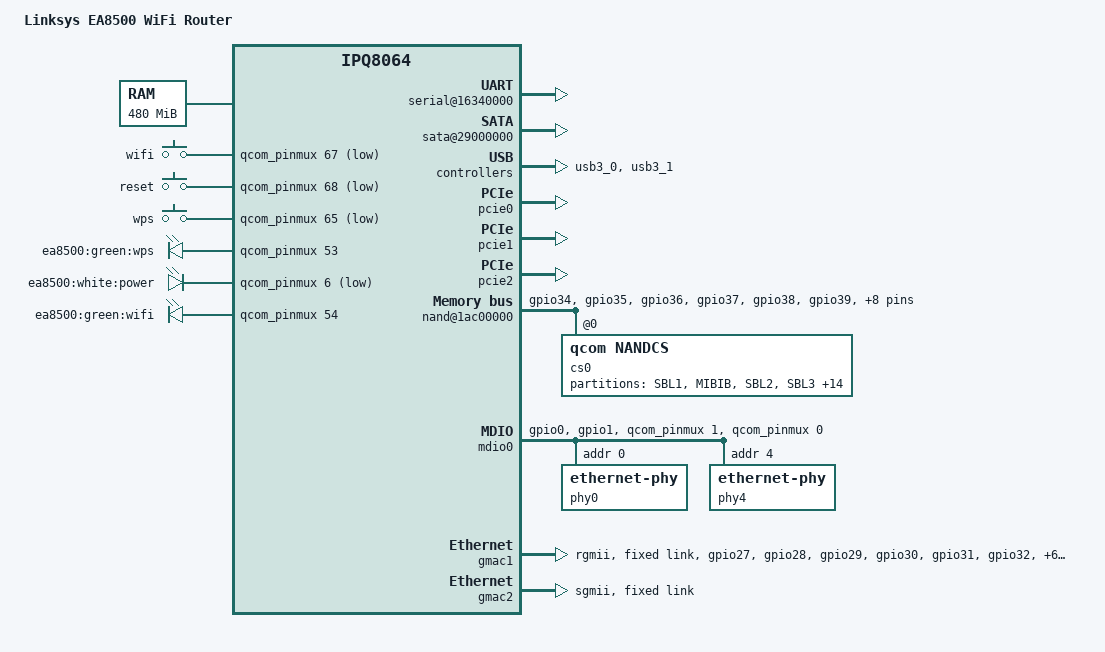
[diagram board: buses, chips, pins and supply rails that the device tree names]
#include "qcom-ipq8064-v2.0.dtsi"

#include <dt-bindings/input/input.h>

/ {
	model = "Linksys EA8500 WiFi Router";
	compatible = "linksys,ea8500", "qcom,ipq8064";

	memory@0 {
		reg = <0x42000000 0x1e000000>;
		device_type = "memory";
	};

	reserved-memory {
		#address-cells = <1>;
		#size-cells = <1>;
		ranges;
		rsvd@41200000 {
			reg = <0x41200000 0x300000>;
			no-map;
		};
	};

	aliases {
		serial0 = &gsbi4_serial;
		mdio-gpio0 = &mdio0;

		led-boot = &power;
		led-failsafe = &power;
		led-running = &power;
		led-upgrade = &power;
	};

	chosen {
		bootargs = "console=ttyMSM0,115200n8";
		stdout-path = "serial0:115200n8";
		append-rootblock = "ubi.mtd=";  /* append to bootargs adding the root deviceblock nbr from bootloader */
	};

	soc {
		pinmux@800000 {
			button_pins: button_pins {
				mux {
					pins = "gpio65", "gpio67", "gpio68";
					function = "gpio";
					drive-strength = <2>;
					bias-pull-up;
				};
			};

			i2c4_pins: i2c4_pinmux {
				mux {
					pins = "gpio12", "gpio13";
					function = "gsbi4";
					drive-strength = <12>;
					bias-disable;
				};
			};

			led_pins: led_pins {
				mux {
					pins = "gpio6", "gpio53", "gpio54";
					function = "gpio";
					drive-strength = <2>;
					bias-pull-up;
				};
			};

			mdio0_pins: mdio0_pins {
				mux {
					pins = "gpio0", "gpio1";
					function = "gpio";
					drive-strength = <8>;
					bias-disable;
				};
			};

			nand_pins: nand_pins {
				mux {
					pins = "gpio34", "gpio35", "gpio36",
					       "gpio37", "gpio38", "gpio39",
					       "gpio40", "gpio41", "gpio42",
					       "gpio43", "gpio44", "gpio45",
					       "gpio46", "gpio47";
					function = "nand";
					drive-strength = <10>;
					bias-disable;
				};
				pullups {
					pins = "gpio39";
					bias-pull-up;
				};
				hold {
					pins = "gpio40", "gpio41", "gpio42",
					       "gpio43", "gpio44", "gpio45",
					       "gpio46", "gpio47";
					bias-bus-hold;
				};
			};

			rgmii2_pins: rgmii2_pins {
				mux {
					pins = "gpio27", "gpio28", "gpio29", "gpio30", "gpio31", "gpio32",
					       "gpio51", "gpio52", "gpio59", "gpio60", "gpio61", "gpio62" ;
					function = "rgmii2";
					drive-strength = <8>;
					bias-disable;
				};
			};
		};

		gsbi@16300000 {
			qcom,mode = <GSBI_PROT_I2C_UART>;
			status = "okay";
			serial@16340000 {
				status = "okay";
			};
			/*
			 * The i2c device on gsbi4 should not be enabled.
			 * On ipq806x designs gsbi4 i2c is meant for exclusive
			 * RPM usage. Turning this on in kernel manifests as
			 * i2c failure for the RPM.
			 */
		};

		sata-phy@1b400000 {
			status = "okay";
		};

		sata@29000000 {
			status = "okay";
		};

		usb3_0: usb3@110f8800 {
			status = "okay";
		};

		usb3_1: usb3@100f8800 {
			status = "okay";
		};

		pcie0: pci@1b500000 {
			status = "okay";
			force_gen1 = <1>;
		};

		pcie1: pci@1b700000 {
			status = "okay";
		};

		pcie2: pci@1b900000 {
			status = "okay";
		};

		nand@1ac00000 {
			status = "okay";

			pinctrl-0 = <&nand_pins>;
			pinctrl-names = "default";

			cs0 {
				reg = <0>;
				compatible = "qcom,nandcs";

				nand-ecc-strength = <4>;
				nand-bus-width = <8>;
				nand-ecc-step-size = <512>;

				partitions {
					compatible = "fixed-partitions";
					#address-cells = <1>;
					#size-cells = <1>;

					SBL1@0 {
						label = "SBL1";
						reg = <0x0000000 0x0040000>;
						read-only;
					};

					MIBIB@40000 {
						label = "MIBIB";
						reg = <0x0040000 0x0140000>;
						read-only;
					};

					SBL2@180000 {
						label = "SBL2";
						reg = <0x0180000 0x0140000>;
						read-only;
					};

					SBL3@2c0000 {
						label = "SBL3";
						reg = <0x02c0000 0x0280000>;
						read-only;
					};

					DDRCONFIG@540000 {
						label = "DDRCONFIG";
						reg = <0x0540000 0x0120000>;
						read-only;
					};

					SSD@660000 {
						label = "SSD";
						reg = <0x0660000 0x0120000>;
						read-only;
					};

					TZ@780000 {
						label = "TZ";
						reg = <0x0780000 0x0280000>;
						read-only;
					};

					RPM@a00000 {
						label = "RPM";
						reg = <0x0a00000 0x0280000>;
						read-only;
					};

					art: art@c80000 {
						label = "art";
						reg = <0x0c80000 0x0140000>;
						read-only;
					};

					APPSBL@dc0000 {
						label = "APPSBL";
						reg = <0x0dc0000 0x0100000>;
						read-only;
					};

					u_env@ec0000 {
						label = "u_env";
						reg = <0x0ec0000 0x0040000>;
					};

					s_env@f00000 {
						label = "s_env";
						reg = <0x0f00000 0x0040000>;
					};

					devinfo@f40000 {
						label = "devinfo";
						reg = <0x0f40000 0x0040000>;
					};

					linux@f80000 {
						label = "kernel1";
						reg = <0x0f80000 0x2800000>;  /* 3 MB spill to rootfs*/
					};

					rootfs@1280000 {
						label = "rootfs1";
						reg = <0x1280000 0x2500000>;
					};

					linux2@3780000 {
						label = "kernel2";
						reg = <0x3780000 0x2800000>;
					};

					rootfs2@3a80000 {
						label = "rootfs2";
						reg = <0x3a80000 0x2500000>;
					};

					syscfg@5f80000 {
						label = "syscfg";
						reg = <0x5f80000 0x2080000>;
					};
				};
			};
		};

		mdio0: mdio {
			compatible = "virtual,mdio-gpio";
			#address-cells = <1>;
			#size-cells = <0>;
			gpios = <&qcom_pinmux 1 GPIO_ACTIVE_HIGH>,
				<&qcom_pinmux 0 GPIO_ACTIVE_HIGH>;
			pinctrl-0 = <&mdio0_pins>;
			pinctrl-names = "default";

			phy0: ethernet-phy@0 {
				reg = <0>;
				qca,ar8327-initvals = <
					0x00004 0x7600000   /* PAD0_MODE */
					0x00008 0x1000000   /* PAD5_MODE */
					0x0000c 0x80        /* PAD6_MODE */
					0x000e4 0x6a545     /* MAC_POWER_SEL */
					0x000e0 0xc74164de  /* SGMII_CTRL */
					0x0007c 0x4e        /* PORT0_STATUS */
					0x00094 0x4e        /* PORT6_STATUS */
					>;
			};

			phy4: ethernet-phy@4 {
				reg = <4>;
			};
		};

		gmac1: ethernet@37200000 {
			status = "okay";
			phy-mode = "rgmii";
			qcom,id = <1>;
			qcom,phy_mdio_addr = <4>;
			qcom,poll_required = <1>;
			qcom,rgmii_delay = <0>;
			qcom,emulation = <0>;
			pinctrl-0 = <&rgmii2_pins>;
			pinctrl-names = "default";
			fixed-link {
				speed = <1000>;
				full-duplex;
			};
		};
		//lan
		gmac2: ethernet@37400000 {
			status = "okay";
			phy-mode = "sgmii";
			qcom,id = <2>;
			qcom,phy_mdio_addr = <0>;	/* none */
			qcom,poll_required = <0>;	/* no polling */
			qcom,rgmii_delay = <0>;
			qcom,emulation = <0>;
			fixed-link {
				speed = <1000>;
				full-duplex;
			};
		};

		adm_dma: dma@18300000 {
			status = "okay";
		};
	};

	keys {
		compatible = "gpio-keys";
		pinctrl-0 = <&button_pins>;
		pinctrl-names = "default";

		wifi {
			label = "wifi";
			gpios = <&qcom_pinmux 67 GPIO_ACTIVE_LOW>;
			linux,code = <KEY_RFKILL>;
		};

		reset {
			label = "reset";
			gpios = <&qcom_pinmux 68 GPIO_ACTIVE_LOW>;
			linux,code = <KEY_RESTART >;
		};

		wps {
			label = "wps";
			gpios = <&qcom_pinmux 65 GPIO_ACTIVE_LOW>;
			linux,code = <KEY_WPS_BUTTON>;
		};
	};

	leds {
		compatible = "gpio-leds";
		pinctrl-0 = <&led_pins>;
		pinctrl-names = "default";

		wps {
			label = "ea8500:green:wps";
			gpios = <&qcom_pinmux 53 GPIO_ACTIVE_HIGH>;
		};

		power: power {
			label = "ea8500:white:power";
			gpios = <&qcom_pinmux 6 GPIO_ACTIVE_LOW>;
			default-state = "keep";
		};

		wifi {
			label = "ea8500:green:wifi";
			gpios = <&qcom_pinmux 54 GPIO_ACTIVE_HIGH>;
		};
	};
};

